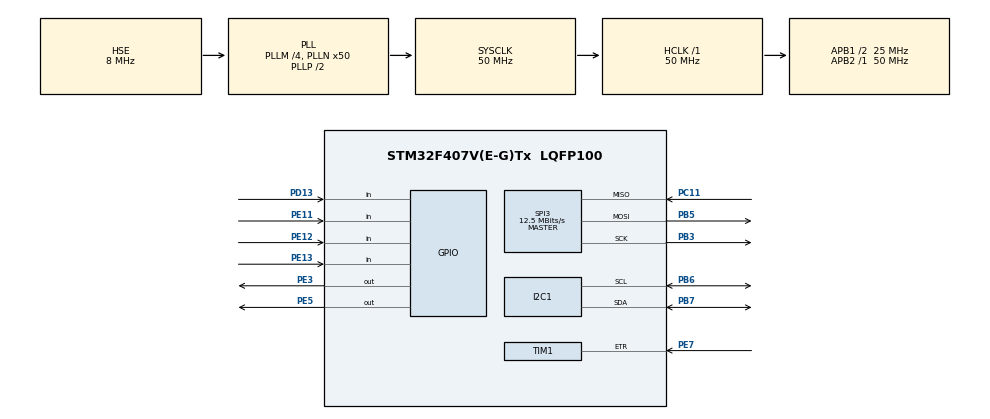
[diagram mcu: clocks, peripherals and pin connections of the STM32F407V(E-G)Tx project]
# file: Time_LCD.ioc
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Mcu.Family=STM32F4
Mcu.Name=STM32F407V(E-G)Tx
Mcu.Package=LQFP100
NVIC.PriorityGroup=NVIC_PRIORITYGROUP_4
PA0-WKUP.Signal=ADCx_IN0
PA13.Mode=Serial_Wire
PA13.Signal=SYS_JTMS-SWDIO
PA14.Mode=Serial_Wire
PA14.Signal=SYS_JTCK-SWCLK
PB3.Mode=Full_Duplex_Master
PB3.Signal=SPI3_SCK
PB5.Mode=Full_Duplex_Master
PB5.Signal=SPI3_MOSI
PB6.Mode=I2C
PB6.Signal=I2C1_SCL
PB7.Mode=I2C
PB7.Signal=I2C1_SDA
PC11.Mode=Full_Duplex_Master
PC11.Signal=SPI3_MISO
PC14-OSC32_IN.Mode=LSE-External-Oscillator
PC14-OSC32_IN.Signal=RCC_OSC32_IN
PC15-OSC32_OUT.Mode=LSE-External-Oscillator
PC15-OSC32_OUT.Signal=RCC_OSC32_OUT
PD13.Signal=GPIO_Input
PE11.GPIO_PuPd=GPIO_PULLUP
PE11.Signal=GPIO_Input
PE12.GPIO_PuPd=GPIO_PULLUP
PE12.Signal=GPIO_Input
PE13.GPIO_PuPd=GPIO_PULLUP
PE13.Signal=GPIO_Input
PE3.Signal=GPIO_Output
PE5.Signal=GPIO_Output
PE7.Signal=S_TIM1_ETR
PH0-OSC_IN.Mode=HSE-External-Oscillator
PH0-OSC_IN.Signal=RCC_OSC_IN
PH1-OSC_OUT.Mode=HSE-External-Oscillator
PH1-OSC_OUT.Signal=RCC_OSC_OUT
ProjectManager.HeapSize=0x200
ProjectManager.StackSize=0x400
ProjectManager.TargetToolchain=STM32CubeIDE
RCC.48MHZClocksFreq_Value=25000000
RCC.AHBFreq_Value=50000000
RCC.APB1CLKDivider=RCC_HCLK_DIV2
RCC.APB1Freq_Value=25000000
RCC.APB1TimFreq_Value=50000000
RCC.APB2Freq_Value=50000000
RCC.APB2TimFreq_Value=50000000
RCC.CortexFreq_Value=50000000
RCC.HCLKFreq_Value=50000000
RCC.HSE_VALUE=8000000
RCC.HSI_VALUE=16000000
RCC.PLLM=4
RCC.PLLN=50
RCC.PLLSourceVirtual=RCC_PLLSOURCE_HSE
RCC.SYSCLKFreq_VALUE=50000000
RCC.SYSCLKSource=RCC_SYSCLKSOURCE_PLLCLK
RCC.VCOOutputFreq_Value=100000000
RTC.Format=RTC_FORMAT_BIN
RTC.Hours=10
RTC.Minutes=53
RTC.SynchPrediv=249
SH.ADCx_IN0.0=ADC1_IN0
SH.S_TIM1_ETR.0=TIM1_ETR,ClockSourceETR_Mode2
SPI3.BaudRatePrescaler=SPI_BAUDRATEPRESCALER_2
SPI3.CalculateBaudRate=12.5 MBits/s
SPI3.Direction=SPI_DIRECTION_2LINES
SPI3.Mode=SPI_MODE_MASTER
SPI3.VirtualType=VM_MASTER
VP_RTC_VS_RTC_Activate.Mode=RTC_Enabled
VP_RTC_VS_RTC_Calendar.Mode=RTC_Calendar
board=custom

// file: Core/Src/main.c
/* USER CODE BEGIN Header */
/**
  ******************************************************************************
  * @file           : main.c
  * @brief          : Main program body
  ******************************************************************************
  * @attention
  *
  * <h2><center>&copy; Copyright (c) 2022 STMicroelectronics.
  * All rights reserved.</center></h2>
  *
  * This software component is licensed by ST under BSD 3-Clause license,
  * the "License"; You may not use this file except in compliance with the
  * License. You may obtain a copy of the License at:
  *                        opensource.org/licenses/BSD-3-Clause
  *
  ******************************************************************************
  */
/* USER CODE END Header */
#include "main.h"

/* USER CODE BEGIN Includes */
#include "stdio.h"
#include "string.h"
#include "stdbool.h"
#include "lcd1602_i2c_lib.h"
/* USER CODE END Includes */

I2C_HandleTypeDef hi2c1;

RTC_HandleTypeDef hrtc;

SPI_HandleTypeDef hspi3;

TIM_HandleTypeDef htim1;

/* USER CODE BEGIN PV */
RTC_TimeTypeDef sTime = {0};
RTC_DateTypeDef sDate = {0};

char time [20] = {0, };
char data [20] = {0, };
uint8_t flag = 0;
/* USER CODE END PV */

void SystemClock_Config(void);
static void MX_GPIO_Init(void);
static void MX_I2C1_Init(void);
static void MX_SPI3_Init(void);
static void MX_RTC_Init(void);
static void MX_TIM1_Init(void);

/* USER CODE BEGIN 0 */
void get_time (void)
{
	HAL_RTC_GetTime(&hrtc, &sTime, RTC_FORMAT_BIN);
    snprintf((char*)time, 19, "%d:%d:%d\n", sTime.Hours, sTime.Minutes, sTime.Seconds);

    HAL_RTC_GetDate(&hrtc, &sDate, RTC_FORMAT_BIN);
    snprintf((char*)data, 19, "%d-%d-20%d\n", sDate.Date, sDate.Month, sDate.Year);
    lcd1602_SetCursor(0, 0);
    lcd1602_Print_text(time);

    HAL_Delay(1000);
}

  void RTC_set(uint8_t hours, uint8_t minutes, uint8_t seconds)
{
   HAL_StatusTypeDef res;
   sTime.Hours = hours;
   sTime.Minutes = minutes;
   sTime.Seconds = seconds;

   res = HAL_RTC_SetTime(&hrtc, &sTime, FORMAT_BIN);
		if (res != HAL_OK)
		{
          HAL_GPIO_WritePin(GPIOD,GPIO_PIN_13, GPIO_PIN_SET);
		}
}

void time_set ()
{
	if (HAL_GPIO_ReadPin(GPIOE, GPIO_PIN_11) == GPIO_PIN_RESET) // hours setting button
			{
		      if(sTime.Hours <= 23)
		      {
		    	  sTime.Hours ++;
		      }
                 else
                {
                	 sTime.Hours = 0;
				}
		      flag = 1;
			}

	if (HAL_GPIO_ReadPin(GPIOE, GPIO_PIN_12) == GPIO_PIN_RESET) // minutes setting button

		{
		  if(sTime.Minutes <= 59)
		    {
			 sTime.Minutes ++;
		    }
		        else
		        {
		            sTime.Minutes = 0;
				}
		   flag = 1;
	     }

	if (HAL_GPIO_ReadPin(GPIOE, GPIO_PIN_13) == GPIO_PIN_RESET) // seconds setting button

			{
			  if(sTime.Seconds <= 59)
			    {
				 sTime.Seconds ++;
			    }
			        else
			        {
			            sTime.Seconds = 0;
					}
			  flag = 1;
		    }

	if(flag == 1)
		{
		RTC_set(sTime.Hours, sTime.Minutes, sTime.Seconds);
		flag = 0;
		}

}

/* USER CODE END 0 */

int main(void)
{
  /* USER CODE BEGIN 1 */
	/*LIS3DSH_InitTypeDef accelConfig;
	LIS3DSH_DataScaled result;*/
  /* USER CODE END 1 */

  /* MCU Configuration--------------------------------------------------------*/

  /* Reset of all peripherals, Initializes the Flash interface and the Systick. */
  HAL_Init();

  /* Configure the system clock */
  SystemClock_Config();

  /* Initialize all configured peripherals */
  MX_GPIO_Init();
  MX_I2C1_Init();
  MX_SPI3_Init();
  MX_RTC_Init();
  MX_TIM1_Init();
  /* USER CODE BEGIN 2 */
   HAL_Delay(100);
   lcd1602_Init();

  /* USER CODE END 2 */

  /* Infinite loop */
  /* USER CODE BEGIN WHILE */
  while (1)
  {
	  get_time();
	  time_set();

	/*if (LIS3DSH_PollDRDY(1000) == true)
	{
	 result = LIS3DSH_GetDataScaled();

    }*/

    /* USER CODE END WHILE */

  }
}

void SystemClock_Config(void)
{
  RCC_OscInitTypeDef RCC_OscInitStruct = {0};
  RCC_ClkInitTypeDef RCC_ClkInitStruct = {0};

  /** Configure the main internal regulator output voltage
  */
  __HAL_RCC_PWR_CLK_ENABLE();
  __HAL_PWR_VOLTAGESCALING_CONFIG(PWR_REGULATOR_VOLTAGE_SCALE1);
  /** Initializes the RCC Oscillators according to the specified parameters
  * in the RCC_OscInitTypeDef structure.
  */
  RCC_OscInitStruct.OscillatorType = RCC_OSCILLATORTYPE_LSI|RCC_OSCILLATORTYPE_HSE;
  RCC_OscInitStruct.HSEState = RCC_HSE_ON;
  RCC_OscInitStruct.LSIState = RCC_LSI_ON;
  RCC_OscInitStruct.PLL.PLLState = RCC_PLL_ON;
  RCC_OscInitStruct.PLL.PLLSource = RCC_PLLSOURCE_HSE;
  RCC_OscInitStruct.PLL.PLLM = 4;
  RCC_OscInitStruct.PLL.PLLN = 50;
  RCC_OscInitStruct.PLL.PLLP = RCC_PLLP_DIV2;
  RCC_OscInitStruct.PLL.PLLQ = 4;
  if (HAL_RCC_OscConfig(&RCC_OscInitStruct) != HAL_OK)
  {
    Error_Handler();
  }
  /** Initializes the CPU, AHB and APB buses clocks
  */
  RCC_ClkInitStruct.ClockType = RCC_CLOCKTYPE_HCLK|RCC_CLOCKTYPE_SYSCLK
                              |RCC_CLOCKTYPE_PCLK1|RCC_CLOCKTYPE_PCLK2;
  RCC_ClkInitStruct.SYSCLKSource = RCC_SYSCLKSOURCE_PLLCLK;
  RCC_ClkInitStruct.AHBCLKDivider = RCC_SYSCLK_DIV1;
  RCC_ClkInitStruct.APB1CLKDivider = RCC_HCLK_DIV2;
  RCC_ClkInitStruct.APB2CLKDivider = RCC_HCLK_DIV1;

  if (HAL_RCC_ClockConfig(&RCC_ClkInitStruct, FLASH_LATENCY_1) != HAL_OK)
  {
    Error_Handler();
  }
}

static void MX_I2C1_Init(void)
{

  hi2c1.Instance = I2C1;
  hi2c1.Init.ClockSpeed = 100000;
  hi2c1.Init.DutyCycle = I2C_DUTYCYCLE_2;
  hi2c1.Init.OwnAddress1 = 0;
  hi2c1.Init.AddressingMode = I2C_ADDRESSINGMODE_7BIT;
  hi2c1.Init.DualAddressMode = I2C_DUALADDRESS_DISABLE;
  hi2c1.Init.OwnAddress2 = 0;
  hi2c1.Init.GeneralCallMode = I2C_GENERALCALL_DISABLE;
  hi2c1.Init.NoStretchMode = I2C_NOSTRETCH_DISABLE;
  if (HAL_I2C_Init(&hi2c1) != HAL_OK)
  {
    Error_Handler();
  }

}

static void MX_RTC_Init(void)
{

  RTC_TimeTypeDef sTime = {0};
  RTC_DateTypeDef sDate = {0};

  /** Initialize RTC Only
  */
  hrtc.Instance = RTC;
  hrtc.Init.HourFormat = RTC_HOURFORMAT_24;
  hrtc.Init.AsynchPrediv = 127;
  hrtc.Init.SynchPrediv = 249;
  hrtc.Init.OutPut = RTC_OUTPUT_DISABLE;
  hrtc.Init.OutPutPolarity = RTC_OUTPUT_POLARITY_HIGH;
  hrtc.Init.OutPutType = RTC_OUTPUT_TYPE_OPENDRAIN;
  if (HAL_RTC_Init(&hrtc) != HAL_OK)
  {
    Error_Handler();
  }

  /** Initialize RTC and set the Time and Date
  */
  sTime.Hours = 10;
  sTime.Minutes = 53;
  sTime.Seconds = 0;
  sTime.DayLightSaving = RTC_DAYLIGHTSAVING_NONE;
  sTime.StoreOperation = RTC_STOREOPERATION_RESET;
  if (HAL_RTC_SetTime(&hrtc, &sTime, RTC_FORMAT_BIN) != HAL_OK)
  {
    Error_Handler();
  }
  sDate.WeekDay = RTC_WEEKDAY_MONDAY;
  sDate.Month = RTC_MONTH_JANUARY;
  sDate.Date = 1;
  sDate.Year = 0;

  if (HAL_RTC_SetDate(&hrtc, &sDate, RTC_FORMAT_BIN) != HAL_OK)
  {
    Error_Handler();
  }

}

static void MX_SPI3_Init(void)
{

  /* SPI3 parameter configuration*/
  hspi3.Instance = SPI3;
  hspi3.Init.Mode = SPI_MODE_MASTER;
  hspi3.Init.Direction = SPI_DIRECTION_2LINES;
  hspi3.Init.DataSize = SPI_DATASIZE_8BIT;
  hspi3.Init.CLKPolarity = SPI_POLARITY_LOW;
  hspi3.Init.CLKPhase = SPI_PHASE_1EDGE;
  hspi3.Init.NSS = SPI_NSS_SOFT;
  hspi3.Init.BaudRatePrescaler = SPI_BAUDRATEPRESCALER_2;
  hspi3.Init.FirstBit = SPI_FIRSTBIT_MSB;
  hspi3.Init.TIMode = SPI_TIMODE_DISABLE;
  hspi3.Init.CRCCalculation = SPI_CRCCALCULATION_DISABLE;
  hspi3.Init.CRCPolynomial = 10;
  if (HAL_SPI_Init(&hspi3) != HAL_OK)
  {
    Error_Handler();
  }

}

static void MX_TIM1_Init(void)
{

  TIM_ClockConfigTypeDef sClockSourceConfig = {0};
  TIM_MasterConfigTypeDef sMasterConfig = {0};

  htim1.Instance = TIM1;
  htim1.Init.Prescaler = 0;
  htim1.Init.CounterMode = TIM_COUNTERMODE_UP;
  htim1.Init.Period = 65535;
  htim1.Init.ClockDivision = TIM_CLOCKDIVISION_DIV1;
  htim1.Init.RepetitionCounter = 0;
  htim1.Init.AutoReloadPreload = TIM_AUTORELOAD_PRELOAD_DISABLE;
  if (HAL_TIM_Base_Init(&htim1) != HAL_OK)
  {
    Error_Handler();
  }
  sClockSourceConfig.ClockSource = TIM_CLOCKSOURCE_ETRMODE2;
  sClockSourceConfig.ClockPolarity = TIM_CLOCKPOLARITY_NONINVERTED;
  sClockSourceConfig.ClockPrescaler = TIM_CLOCKPRESCALER_DIV1;
  sClockSourceConfig.ClockFilter = 0;
  if (HAL_TIM_ConfigClockSource(&htim1, &sClockSourceConfig) != HAL_OK)
  {
    Error_Handler();
  }
  sMasterConfig.MasterOutputTrigger = TIM_TRGO_RESET;
  sMasterConfig.MasterSlaveMode = TIM_MASTERSLAVEMODE_DISABLE;
  if (HAL_TIMEx_MasterConfigSynchronization(&htim1, &sMasterConfig) != HAL_OK)
  {
    Error_Handler();
  }

}

static void MX_GPIO_Init(void)
{
  GPIO_InitTypeDef GPIO_InitStruct = {0};

  /* GPIO Ports Clock Enable */
  __HAL_RCC_GPIOE_CLK_ENABLE();
  __HAL_RCC_GPIOC_CLK_ENABLE();
  __HAL_RCC_GPIOH_CLK_ENABLE();
  __HAL_RCC_GPIOA_CLK_ENABLE();
  __HAL_RCC_GPIOD_CLK_ENABLE();
  __HAL_RCC_GPIOB_CLK_ENABLE();

  /*Configure GPIO pin Output Level */
  HAL_GPIO_WritePin(GPIOE, GPIO_PIN_3|GPIO_PIN_5, GPIO_PIN_RESET);

  /*Configure GPIO pins : PE3 PE5 */
  GPIO_InitStruct.Pin = GPIO_PIN_3|GPIO_PIN_5;
  GPIO_InitStruct.Mode = GPIO_MODE_OUTPUT_PP;
  GPIO_InitStruct.Pull = GPIO_NOPULL;
  GPIO_InitStruct.Speed = GPIO_SPEED_FREQ_LOW;
  HAL_GPIO_Init(GPIOE, &GPIO_InitStruct);

  /*Configure GPIO pin : PA0 */
  GPIO_InitStruct.Pin = GPIO_PIN_0;
  GPIO_InitStruct.Mode = GPIO_MODE_ANALOG;
  GPIO_InitStruct.Pull = GPIO_NOPULL;
  HAL_GPIO_Init(GPIOA, &GPIO_InitStruct);

  /*Configure GPIO pins : PE11 PE12 PE13 */
  GPIO_InitStruct.Pin = GPIO_PIN_11|GPIO_PIN_12|GPIO_PIN_13;
  GPIO_InitStruct.Mode = GPIO_MODE_INPUT;
  GPIO_InitStruct.Pull = GPIO_PULLUP;
  HAL_GPIO_Init(GPIOE, &GPIO_InitStruct);

  /*Configure GPIO pin : PD13 */
  GPIO_InitStruct.Pin = GPIO_PIN_13;
  GPIO_InitStruct.Mode = GPIO_MODE_INPUT;
  GPIO_InitStruct.Pull = GPIO_NOPULL;
  HAL_GPIO_Init(GPIOD, &GPIO_InitStruct);

}

void Error_Handler(void)
{
  __disable_irq();
  while (1)
  {
  }
}

/************************ (C) COPYRIGHT STMicroelectronics *****END OF FILE****/
